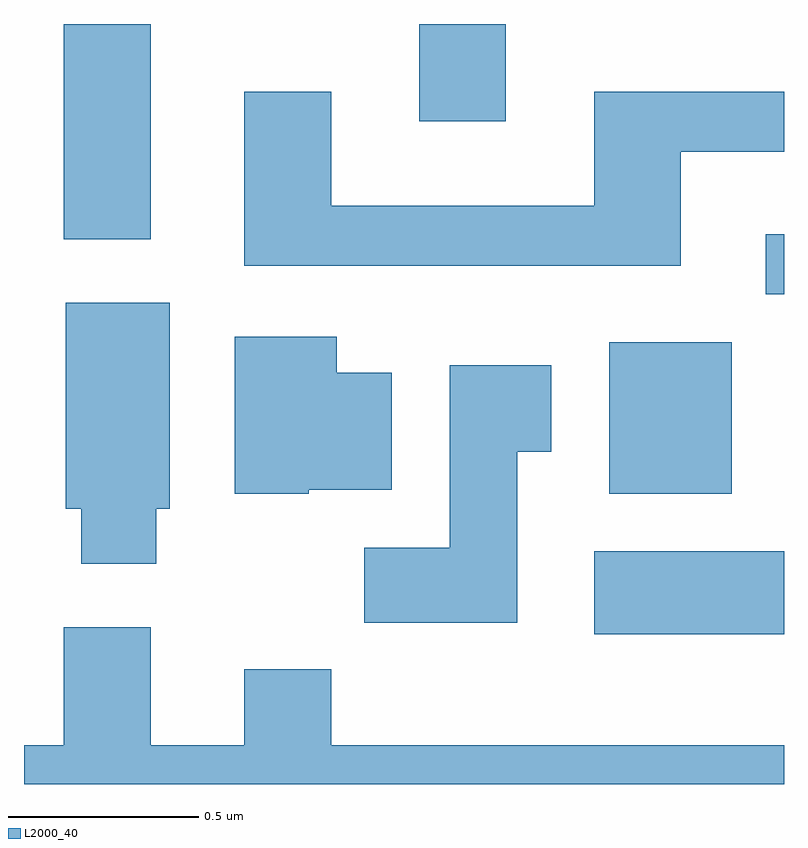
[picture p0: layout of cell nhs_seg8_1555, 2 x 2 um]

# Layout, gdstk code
import gdstk
lib = gdstk.Library(unit=1e-6, precision=1e-09)
def R(c, l, rs):  # rectangles x0, y0, x1, y1
    for r in rs: c.add(gdstk.rectangle(r[:2], r[2:], *l))
def P(c, l, *ps):  # polygons
    for p in ps: c.add(gdstk.Polygon(p, *l))
L2000_40 = (2000, 40)

nhs_seg8_1555 = lib.new_cell('nhs_seg8_1555')
R(nhs_seg8_1555, L2000_40, [(198.111,1854.736,198.611,1854.954), (198.151,1855.106,198.474,1855.504), (198.563,1855.631,198.611,1855.789), (196.716,1855.776,196.944,1856.342), (197.651,1856.086,197.879,1856.342)])
P(nhs_seg8_1555, L2000_40, [(198.339,1856.006),(198.611,1856.006),(198.611,1856.164),(198.111,1856.164),(198.111,1855.864),(197.419,1855.864),(197.419,1856.164),(197.191,1856.164),(197.191,1855.706),(198.339,1855.706)],
  [(196.959,1855.066),(196.994,1855.066),(196.994,1855.609),(196.721,1855.609),(196.721,1855.066),(196.761,1855.066),(196.761,1854.921),(196.959,1854.921)],
  [(197.36,1855.116),(197.579,1855.116),(197.579,1855.424),(197.434,1855.424),(197.434,1855.519),(197.166,1855.519),(197.166,1855.106),(197.36,1855.106)],
  [(197.909,1855.216),(197.999,1855.216),(197.999,1855.444),(197.731,1855.444),(197.731,1854.964),(197.506,1854.964),(197.506,1854.766),(197.909,1854.766)],
  [(198.611,1854.444),(197.419,1854.444),(197.419,1854.644),(197.191,1854.644),(197.191,1854.444),(196.944,1854.444),(196.944,1854.754),(196.716,1854.754),(196.716,1854.444),(196.611,1854.444),(196.611,1854.342),(198.611,1854.342)])

lib.write_gds('nhs_seg8_1555.gds')
